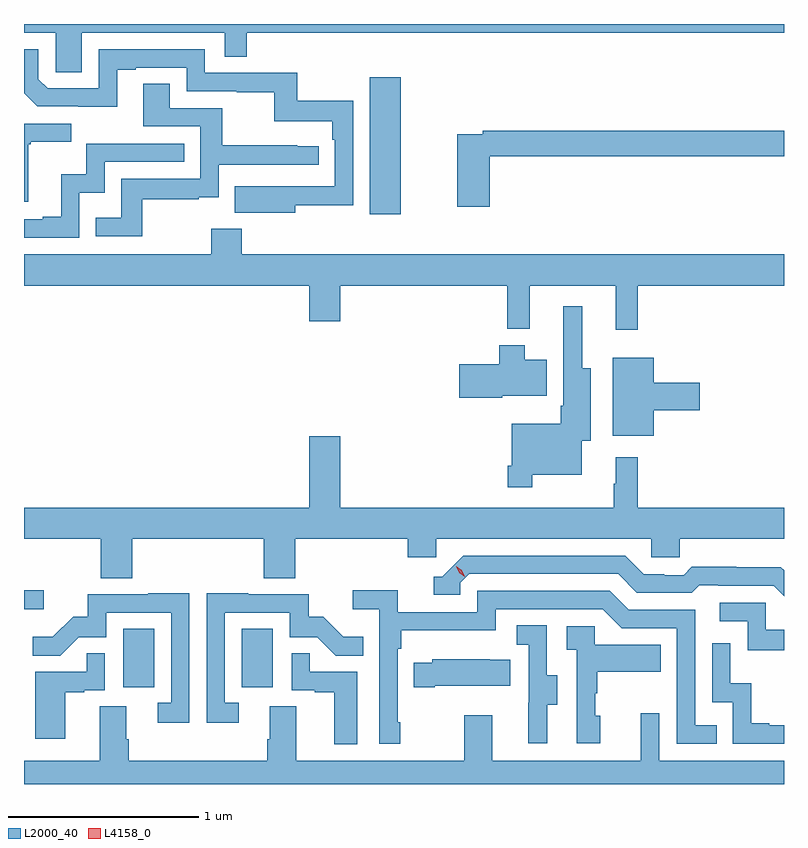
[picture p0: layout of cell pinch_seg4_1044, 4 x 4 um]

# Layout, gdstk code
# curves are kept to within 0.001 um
import gdstk
lib = gdstk.Library(unit=1e-6, precision=1e-09)
def R(c, l, rs):  # rectangles x0, y0, x1, y1
    for r in rs: c.add(gdstk.rectangle(r[:2], r[2:], *l))
def P(c, l, *ps):  # polygons
    for p in ps: c.add(gdstk.Polygon(p, *l))
L2000_40 = (2000, 40)
L4158_0 = (4158, 0)

pinch_seg4_1044 = lib.new_cell('pinch_seg4_1044')
R(pinch_seg4_1044, L2000_40, [(835.358,764.07,835.522,764.377), (835.982,764.07,836.146,764.377), (834.836,764.48,834.94,764.582), (836.657,766.56,836.818,767.281)])
P(pinch_seg4_1044, L2000_40, [(835.141,767.516),(835.893,767.516),(835.893,767.389),(836.009,767.389),(836.009,767.516),(838.836,767.516),(838.836,767.561),(834.836,767.561),(834.836,767.516),(835.002,767.516),(835.002,767.308),(835.141,767.308)],
  [(836.263,766.606),(836.568,766.606),(836.568,767.158),(836.275,767.158),(836.275,767.304),(835.788,767.304),(835.788,767.427),(835.23,767.427),(835.23,767.223),(834.96,767.223),(834.912,767.271),(834.912,767.427),(834.836,767.427),(834.836,767.197),(834.906,767.127),(835.327,767.126),(835.327,767.319),(835.423,767.319),(835.423,767.331),(835.692,767.331),(835.692,767.208),(835.957,767.208),(835.957,767.203),(836.154,767.203),(836.154,767.048),(836.459,767.048),(836.459,766.952),(836.472,766.952),(836.472,766.707),(835.945,766.708),(835.945,766.568),(836.263,766.568)],
  [(835.459,766.638),(835.757,766.638),(835.757,766.649),(835.86,766.649),(835.86,766.821),(836.386,766.821),(836.386,766.917),(836.273,766.917),(836.273,766.922),(835.88,766.922),(835.88,767.118),(835.603,767.118),(835.603,767.246),(835.463,767.246),(835.463,767.022),(835.764,767.022),(835.764,766.746),(835.348,766.746),(835.348,766.54),(835.213,766.54),(835.213,766.443),(835.459,766.443)],
  [(834.859,766.929),(834.871,766.929),(834.871,766.94),(835.084,766.94),(835.084,767.037),(834.836,767.037),(834.836,766.626),(834.859,766.626)],
  [(837.287,766.864),(838.836,766.864),(838.836,767),(837.25,767),(837.25,766.98),(837.116,766.98),(837.116,766.599),(837.287,766.599)],
  [(835.128,766.673),(835.26,766.673),(835.26,766.836),(835.679,766.836),(835.679,766.932),(835.164,766.932),(835.164,766.771),(835.031,766.771),(835.031,766.546),(834.935,766.546),(834.935,766.533),(834.836,766.533),(834.836,766.437),(835.128,766.437)],
  [(838.067,766.184),(838.836,766.184),(838.836,766.348),(835.982,766.348),(835.982,766.483),(835.822,766.483),(835.822,766.348),(834.836,766.348),(834.836,766.184),(836.336,766.184),(836.336,765.996),(836.5,765.996),(836.5,766.184),(837.379,766.184),(837.379,765.956),(837.497,765.956),(837.497,766.184),(837.95,766.184),(837.95,765.951),(838.067,765.951)],
  [(837.511,765.188),(837.772,765.188),(837.772,765.368),(837.82,765.368),(837.82,765.748),(837.773,765.748),(837.773,766.075),(837.674,766.075),(837.674,765.844),(837.675,765.844),(837.675,765.553),(837.662,765.553),(837.662,765.457),(837.402,765.457),(837.402,765.235),(837.382,765.235),(837.382,765.123),(837.511,765.123)],
  [(837.354,765.605),(837.586,765.605),(837.586,765.793),(837.472,765.793),(837.472,765.871),(837.338,765.871),(837.338,765.771),(837.126,765.771),(837.126,765.593),(837.354,765.593)],
  [(838.15,765.527),(838.393,765.527),(838.393,765.674),(838.15,765.674),(838.15,765.805),(837.935,765.805),(837.935,765.395),(838.15,765.395)],
  [(834.836,764.852),(835.241,764.852),(835.241,764.644),(835.406,764.644),(835.406,764.852),(836.099,764.852),(836.099,764.644),(836.264,764.644),(836.264,764.852),(836.855,764.852),(836.855,764.754),(837.006,764.754),(837.006,764.852),(838.137,764.852),(838.137,764.754),(838.287,764.754),(838.287,764.852),(838.836,764.852),(838.836,765.016),(838.067,765.016),(838.067,765.28),(837.95,765.28),(837.95,765.14),(837.939,765.14),(837.939,765.016),(836.5,765.016),(836.5,765.391),(836.336,765.391),(836.336,765.016),(834.836,765.016)],
  [(838.836,764.685),(838.82,764.701),(838.584,764.701),(838.584,764.704),(838.351,764.704),(838.309,764.661),(838.206,764.661),(838.206,764.664),(838.099,764.664),(838,764.763),(837.147,764.763),(837.036,764.652),(836.993,764.652),(836.993,764.556),(837.132,764.556),(837.132,764.619),(837.18,764.667),(837.963,764.667),(838.062,764.568),(838.351,764.568),(838.39,764.607),(838.489,764.607),(838.489,764.604),(838.782,764.604),(838.836,764.55)],
  [(836.815,763.885),(836.802,763.885),(836.802,764.273),(836.822,764.273),(836.822,764.369),(837.318,764.369),(837.318,764.481),(837.882,764.481),(837.981,764.382),(838.272,764.382),(838.272,763.773),(838.481,763.773),(838.481,763.869),(838.368,763.869),(838.368,764.478),(838.018,764.478),(837.919,764.577),(837.222,764.577),(837.222,764.466),(836.804,764.466),(836.804,764.582),(836.565,764.582),(836.565,764.48),(836.706,764.48),(836.706,763.773),(836.815,763.773)],
  [(835.966,763.989),(835.893,763.989),(835.893,764.463),(836.235,764.463),(836.235,764.334),(836.38,764.334),(836.478,764.236),(836.621,764.236),(836.621,764.335),(836.517,764.335),(836.41,764.442),(836.334,764.442),(836.334,764.559),(836.015,764.559),(836.015,764.564),(835.797,764.564),(835.797,763.884),(835.966,763.884)],
  [(835.707,764.564),(835.489,764.564),(835.489,764.559),(835.171,764.559),(835.171,764.442),(835.094,764.442),(834.987,764.335),(834.883,764.335),(834.883,764.236),(835.027,764.236),(835.125,764.334),(835.269,764.334),(835.269,764.463),(835.611,764.463),(835.611,763.989),(835.539,763.989),(835.539,763.884),(835.707,763.884)],
  [(838.836,764.373),(838.74,764.373),(838.74,764.514),(838.497,764.514),(838.497,764.418),(838.644,764.418),(838.644,764.265),(838.836,764.265)],
  [(837.589,763.978),(837.643,763.978),(837.643,764.133),(837.588,764.133),(837.588,764.396),(837.429,764.396),(837.429,764.293),(837.492,764.293),(837.492,763.989),(837.491,763.989),(837.491,763.776),(837.589,763.776)],
  [(837.868,763.92),(837.843,763.92),(837.843,764.039),(837.853,764.039),(837.853,764.153),(838.187,764.153),(838.187,764.293),(837.84,764.293),(837.84,764.391),(837.693,764.391),(837.693,764.267),(837.744,764.267),(837.744,763.776),(837.868,763.776)],
  [(838.836,763.869),(838.759,763.869),(838.759,763.882),(838.664,763.882),(838.664,764.09),(838.554,764.09),(838.554,764.302),(838.458,764.302),(838.458,763.992),(838.566,763.992),(838.566,763.773),(838.836,763.773)],
  [(836.59,764.151),(836.339,764.151),(836.339,764.249),(836.244,764.249),(836.244,764.055),(836.365,764.055),(836.365,764.043),(836.468,764.043),(836.468,763.769),(836.59,763.769)],
  [(835.054,764.043),(835.154,764.043),(835.154,764.055),(835.26,764.055),(835.26,764.249),(835.165,764.249),(835.165,764.151),(834.896,764.151),(834.896,763.8),(835.054,763.8)],
  [(836.998,764.078),(837.395,764.078),(837.395,764.215),(837.287,764.215),(837.287,764.218),(836.985,764.218),(836.985,764.2),(836.887,764.2),(836.887,764.071),(836.998,764.071)],
  [(838.836,763.684),(838.179,763.684),(838.179,763.933),(838.082,763.933),(838.082,763.684),(837.301,763.684),(837.301,763.924),(837.154,763.924),(837.154,763.684),(836.269,763.684),(836.269,763.97),(836.129,763.97),(836.129,763.796),(836.117,763.796),(836.117,763.684),(835.388,763.684),(835.388,763.796),(835.375,763.796),(835.375,763.97),(835.235,763.97),(835.235,763.684),(834.836,763.684),(834.836,763.561),(838.836,763.561)])
P(pinch_seg4_1044, L4158_0, [(837.156,764.653),(837.126,764.673),(837.11,764.706),(837.11,764.706),(837.11,764.706),(837.141,764.686),(837.156,764.653),(837.156,764.653)])

lib.write_gds('pinch_seg4_1044.gds')
